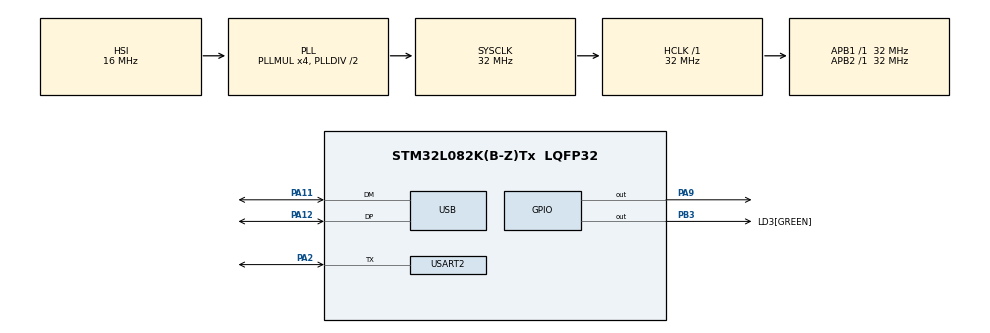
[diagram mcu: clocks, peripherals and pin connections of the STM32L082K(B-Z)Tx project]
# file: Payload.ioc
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Mcu.Family=STM32L0
Mcu.Name=STM32L082K(B-Z)Tx
Mcu.Package=LQFP32
NVIC.USB_IRQn=true\:0\:0\:false\:false\:true
PA11.Mode=Device
PA11.Signal=USB_DM
PA12.Mode=Device
PA12.Signal=USB_DP
PA2.Mode=Half_duplex(single_wire_mode)
PA2.Signal=USART2_TX
PA9.Signal=GPIO_Output
PB3.GPIO_Label=LD3[GREEN]
PB3.Signal=GPIO_Output
PC14-OSC32_IN.Mode=LSE-External-Oscillator
PC14-OSC32_IN.Signal=RCC_OSC32_IN
PC15-OSC32_OUT.Mode=LSE-External-Oscillator
PC15-OSC32_OUT.Signal=RCC_OSC32_OUT
ProjectManager.HeapSize=0x400
ProjectManager.StackSize=0x1000
ProjectManager.TargetToolchain=MDK-ARM V5
RCC.AHBFreq_Value=32000000
RCC.APB1Freq_Value=32000000
RCC.APB1TimFreq_Value=32000000
RCC.APB2Freq_Value=32000000
RCC.APB2TimFreq_Value=32000000
RCC.HCLKFreq_Value=32000000
RCC.HSI16_VALUE=16000000
RCC.HSI48MClockSelection=RCC_USBCLKSOURCE_HSI48
RCC.HSI48_VALUE=48000000
RCC.HSI_VALUE=16000000
RCC.MSI_VALUE=2097000
RCC.PLLMUL=RCC_PLLMUL_4
RCC.RTCClockSelection=RCC_RTCCLKSOURCE_LSE
RCC.SYSCLKFreq_VALUE=32000000
RCC.SYSCLKSource=RCC_SYSCLKSOURCE_PLLCLK
RCC.VCOOutputFreq_Value=64000000
USART2.WordLength=UART_WORDLENGTH_8B
USB_DEVICE.CLASS_NAME_FS=CDC
USB_DEVICE.USBD_HandleTypeDef=hUsbDeviceFS
USB_DEVICE.VirtualMode=Cdc
USB_DEVICE.VirtualModeFS=Cdc_FS
VP_RNG_VS_RNG.Mode=RNG_Activate
VP_RTC_VS_RTC_Alarm_A_Intern.Mode=Alarm A
VP_USB_DEVICE_VS_USB_DEVICE_CDC_FS.Mode=CDC_FS
board=Payload

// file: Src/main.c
/**
  ******************************************************************************
  * File Name          : main.c
  * Description        : Main program body
  ******************************************************************************
  *
  * COPYRIGHT(c) 2016 STMicroelectronics
  *
  * Redistribution and use in source and binary forms, with or without modification,
  * are permitted provided that the following conditions are met:
  *   1. Redistributions of source code must retain the above copyright notice,
  *      this list of conditions and the following disclaimer.
  *   2. Redistributions in binary form must reproduce the above copyright notice,
  *      this list of conditions and the following disclaimer in the documentation
  *      and/or other materials provided with the distribution.
  *   3. Neither the name of STMicroelectronics nor the names of its contributors
  *      may be used to endorse or promote products derived from this software
  *      without specific prior written permission.
  *
  * THIS SOFTWARE IS PROVIDED BY THE COPYRIGHT HOLDERS AND CONTRIBUTORS "AS IS"
  * AND ANY EXPRESS OR IMPLIED WARRANTIES, INCLUDING, BUT NOT LIMITED TO, THE
  * IMPLIED WARRANTIES OF MERCHANTABILITY AND FITNESS FOR A PARTICULAR PURPOSE ARE
  * DISCLAIMED. IN NO EVENT SHALL THE COPYRIGHT HOLDER OR CONTRIBUTORS BE LIABLE
  * FOR ANY DIRECT, INDIRECT, INCIDENTAL, SPECIAL, EXEMPLARY, OR CONSEQUENTIAL
  * DAMAGES (INCLUDING, BUT NOT LIMITED TO, PROCUREMENT OF SUBSTITUTE GOODS OR
  * SERVICES; LOSS OF USE, DATA, OR PROFITS; OR BUSINESS INTERRUPTION) HOWEVER
  * CAUSED AND ON ANY THEORY OF LIABILITY, WHETHER IN CONTRACT, STRICT LIABILITY,
  * OR TORT (INCLUDING NEGLIGENCE OR OTHERWISE) ARISING IN ANY WAY OUT OF THE USE
  * OF THIS SOFTWARE, EVEN IF ADVISED OF THE POSSIBILITY OF SUCH DAMAGE.
  *
  ******************************************************************************
  */
#include "stm32l0xx_hal.h"
#include "usb_device.h"

/* USER CODE BEGIN Includes */
#include <time.h>
#include "usbd_cdc_if.h"
#include "dice.h"

#define DEFAULT_FILE_HANDLE_STDOUT (1)
#define DEFAULT_FILE_HANDLE_STDIN (2)
#define DEFAULT_FILE_HANDLE_STDERR (3)
struct __FILE { int handle; };

/* USER CODE END Includes */

RNG_HandleTypeDef hrng;

RTC_HandleTypeDef hrtc;

UART_HandleTypeDef huart2;

/* USER CODE BEGIN PV */
/* Private variables ---------------------------------------------------------*/
CRYP_HandleTypeDef hcryp = {0};
FIREWALL_InitTypeDef fw_init = {0};
FILE __stdout = {DEFAULT_FILE_HANDLE_STDOUT};
FILE __stdin = {DEFAULT_FILE_HANDLE_STDIN};
FILE __stderr = {DEFAULT_FILE_HANDLE_STDERR};

/* USER CODE END PV */

void SystemClock_Config(void);
void Error_Handler(void);
static void MX_GPIO_Init(void);
static void MX_RNG_Init(void);
static void MX_USART2_UART_Init(void);
static void MX_RTC_Init(void);

/* USER CODE BEGIN PFP */
/* Private function prototypes -----------------------------------------------*/

/* USER CODE END PFP */

/* USER CODE BEGIN 0 */
int fputc(int ch, FILE *f)
{
    if(f->handle == DEFAULT_FILE_HANDLE_STDOUT)
    {
        while(CDC_Transmit_FS((uint8_t*)&ch, sizeof(uint8_t)) == USBD_BUSY);
    }
    else if(f->handle == DEFAULT_FILE_HANDLE_STDERR)
    {
        while(HAL_UART_Transmit(&huart2, (uint8_t*)&ch, sizeof(uint8_t), HAL_MAX_DELAY) == HAL_BUSY);
    }
    return ch;
}

int fgetc(FILE *f)
{
  uint8_t ch;
  if(f->handle == DEFAULT_FILE_HANDLE_STDIN)
  {
      while((CDC_RX_Data == NULL) && (CDC_DTR))
      {
          HAL_Delay(0);
      };
      if(CDC_DTR)
      {
          ch = *CDC_RX_Data;
          CDC_RX_Data = NULL;
          fputc(ch, &__stdout); // Echo
          if(ch == '\r') fputc('\n', &__stdout);
      }
      else
      {
          return -1;
      }
  }
  return ch;
}

HAL_StatusTypeDef GetTimeOfDay(time_t* rawTime)
{
    HAL_StatusTypeDef retVal = HAL_OK;
    RTC_DateTypeDef date = {0};
    RTC_TimeTypeDef time = {0};

    if(((retVal = HAL_RTC_GetDate(&hrtc, &date, RTC_FORMAT_BIN)) == HAL_OK) &&
       ((retVal = HAL_RTC_GetTime(&hrtc, &time, RTC_FORMAT_BIN)) == HAL_OK))
    {
        struct tm timeInfo = {0};
        timeInfo.tm_sec = time.Seconds;
        timeInfo.tm_min = time.Minutes;
        timeInfo.tm_hour = time.Hours;
        timeInfo.tm_mday = date.Date - 1;
        timeInfo.tm_wday = date.WeekDay;
        timeInfo.tm_mon = date.Month - 1; // January = 0
        timeInfo.tm_year = date.Year + 100; // Base year is 1900
        *rawTime = mktime(&timeInfo);
    }
    return retVal;
}

HAL_StatusTypeDef SetTimeOfDay(time_t* rawTime)
{
    HAL_StatusTypeDef retVal = HAL_OK;
    RTC_DateTypeDef date = { 0 };
    RTC_TimeTypeDef time = { 0 };
    struct tm* timeInfo = NULL;

    timeInfo = localtime(rawTime);
    time.Seconds = timeInfo->tm_sec;
    time.Minutes = timeInfo->tm_min;
    time.Hours = timeInfo->tm_hour;
    date.WeekDay = timeInfo->tm_wday;
    date.Date = timeInfo->tm_mday + 1; // mday 0 is the first
    date.Month = timeInfo->tm_mon + 1; // January = 0
    date.Year = timeInfo->tm_year - 100; // Base year is 1900

    if(((retVal = HAL_RTC_SetDate(&hrtc, &date, RTC_FORMAT_BIN)) != HAL_OK) ||
       ((retVal = HAL_RTC_SetTime(&hrtc, &time, RTC_FORMAT_BIN)) != HAL_OK))
    {
        goto Cleanup;
    }

Cleanup:
    return retVal;
}

void Morse(char* dataStr)
{
    const uint16_t morseCode[] = {
        0x0201, // A *-
        0x040E, // B -***
        0x040A, // C -*-*
        0x0306, // D -**
        0x0101, // E *
        0x040B, // F **-*
        0x0304, // G --*
        0x040F, // H ****
        0x0203, // I **
        0x0401, // J *----
        0x0302, // K -*-
        0x040D, // L *-**
        0x0200, // M --
        0x0202, // N -*
        0x0300, // O ---
        0x0409, // P *--*
        0x0404, // Q --*-
        0x0302, // R *-*
        0x0307, // S ***
        0x0100, // T -
        0x0302, // U **-
        0x0407, // V ***-
        0x0301, // W *--
        0x0406, // X -**-
        0x0402, // Y -*--
        0x040C, // Z --**
        0x0500, // 0 -----
        0x0501, // 1 *----
        0x0503, // 2 **---
        0x0507, // 3 ***--
        0x050F, // 4 ****-
        0x051F, // 5 *****
        0x051E, // 6 -****
        0x051C, // 7 --***
        0x0518, // 8 ---**
        0x0510};// 9 ----*

    HAL_GPIO_WritePin(LD3_GPIO_Port, LD3_Pin, GPIO_PIN_RESET);
    for(uint8_t n = 0; n < strlen(dataStr); n++)
    {
        uint32_t cursor = 0;
        char send = dataStr[n];
        if((send >= 'a') && (send <= 'z')) send -= 'a' - 'A';
        if((send >= 'A') && (send <= 'Z'))
        {
            cursor = send - 'A';
        }
        else if((send >= '0') && (send <= '9'))
        {
            cursor = send - '0' + 26;
        }
        else
        {
            return;
        }
        if(n > 0) HAL_Delay(750);
        for(uint32_t m = 0; m < (morseCode[cursor] >> 8); m++)
        {
            if(m > 0) HAL_Delay(250);
            HAL_GPIO_WritePin(LD3_GPIO_Port, LD3_Pin, GPIO_PIN_SET);
            if(((morseCode[cursor] & 0x00FF) >> m) & 0x01)
            {
                HAL_Delay(100);
            }
            else
            {
                HAL_Delay(500);
            }
            HAL_GPIO_WritePin(LD3_GPIO_Port, LD3_Pin, GPIO_PIN_RESET);
        }
    }
}

/* USER CODE END 0 */

int main(void)
{

  /* USER CODE BEGIN 1 */
    HAL_StatusTypeDef retVal = HAL_OK;
    time_t clockLast = 0;
    time_t* persistedTime = (time_t*)0x08080000;
    char userinput[256];
  /* USER CODE END 1 */

  /* MCU Configuration----------------------------------------------------------*/

  /* Reset of all peripherals, Initializes the Flash interface and the Systick. */
  HAL_Init();

  /* Configure the system clock */
  SystemClock_Config();

  /* Initialize all configured peripherals */
  MX_GPIO_Init();
  MX_RNG_Init();
  MX_USART2_UART_Init();
  MX_USB_DEVICE_Init();
  MX_RTC_Init();

  /* USER CODE BEGIN 2 */
  fprintf(&__stderr, "#####################################################################\r\n");
  fprintf(&__stderr, "##  BlinkyBlink running @ 0x%08x\r\n", SCB->VTOR);
  fprintf(&__stderr, "#####################################################################\r\n");
  DiceDumpProtectedData(&__stderr);
  DiceDumpAppInfo(&__stderr);
  DiceVolatileData(&__stderr);
  SetTimeOfDay(persistedTime);

  /* USER CODE END 2 */

  /* Infinite loop */
  while (1)
  {

  /* USER CODE BEGIN 3 */
    struct tm* timeInfo = NULL;
    time_t clockNow = {0};
    do
    {
        HAL_Delay(0);
        retVal = GetTimeOfDay(&clockNow);
    }
    while((retVal != HAL_OK) || (clockNow == clockLast));
    clockLast = clockNow;
    timeInfo = localtime(&clockLast);
    fprintf(&__stderr, "[%02d.%02d.%02d-%02d:%02d:%02d]", 1900 + timeInfo->tm_year, timeInfo->tm_mon, timeInfo->tm_mday, timeInfo->tm_hour, timeInfo->tm_min, timeInfo->tm_sec);
    HAL_GPIO_TogglePin(LD3_GPIO_Port, LD3_Pin);
    fprintf(&__stderr, "GPIO_LD3: %s\r", (HAL_GPIO_ReadPin(LD3_GPIO_Port, LD3_Pin) == GPIO_PIN_SET) ? "ON " : "OFF");

    if(CDC_DTR)
    {
      DiceVolatileData(&__stdout);
      printf("Welcome to BlinkyBlink!\r\n");

      GetTimeOfDay(&clockLast);
      printf("New filetime (current %u) or N: ", clockLast);
      if(scanf("%d", &clockLast) > 0)
      {
          printf("Setting: 0x%08x\r\n", clockLast);
          if(SetTimeOfDay(&clockLast) == HAL_OK)
          {
              do
              {
                if(GetTimeOfDay(&clockNow) != HAL_OK)
                {
                    break;
                }
              }
              while(clockNow < clockLast);
              printf("SystemTime: %s\r", asctime(localtime((time_t*)&clockNow)));
          }

          // Persist that time
          if((HAL_FLASHEx_DATAEEPROM_Unlock() == HAL_OK) &&
             (HAL_FLASHEx_DATAEEPROM_Erase((uint32_t)persistedTime) == HAL_OK) &&
             (HAL_FLASHEx_DATAEEPROM_Program(FLASH_TYPEPROGRAM_WORD, (uint32_t)persistedTime, (uint32_t)clockLast) == HAL_OK) &&
             (HAL_FLASHEx_DATAEEPROM_Lock() == HAL_OK))
          {
              printf("TimeStamp persisted.\r\n");
          }
          clockLast = clockNow;
      }
      else
      {
          printf("\r\nSkipping clock set.\r\n");
      }
      do
      {
          while(GetTimeOfDay(&clockLast) != HAL_OK) HAL_Delay(10);
          printf("Time: %s\r", asctime(localtime((time_t*)&clockLast)));
          printf("Input: ");
          if(scanf("%s", userinput) > 0)
          {
              printf("Morseing '%s' with LD3...\r\n", userinput);
              Morse(userinput);
          }
      }
      while(CDC_DTR);
    }
  }
  /* USER CODE END 3 */

}

/** System Clock Configuration
*/
void SystemClock_Config(void)
{

  RCC_OscInitTypeDef RCC_OscInitStruct;
  RCC_ClkInitTypeDef RCC_ClkInitStruct;
  RCC_PeriphCLKInitTypeDef PeriphClkInit;

  __HAL_RCC_PWR_CLK_ENABLE();

  __HAL_PWR_VOLTAGESCALING_CONFIG(PWR_REGULATOR_VOLTAGE_SCALE1);

  RCC_OscInitStruct.OscillatorType = RCC_OSCILLATORTYPE_HSI|RCC_OSCILLATORTYPE_LSE
                              |RCC_OSCILLATORTYPE_HSI48;
  RCC_OscInitStruct.LSEState = RCC_LSE_ON;
  RCC_OscInitStruct.HSIState = RCC_HSI_ON;
  RCC_OscInitStruct.HSICalibrationValue = 16;
  RCC_OscInitStruct.HSI48State = RCC_HSI48_ON;
  RCC_OscInitStruct.PLL.PLLState = RCC_PLL_ON;
  RCC_OscInitStruct.PLL.PLLSource = RCC_PLLSOURCE_HSI;
  RCC_OscInitStruct.PLL.PLLMUL = RCC_PLLMUL_4;
  RCC_OscInitStruct.PLL.PLLDIV = RCC_PLLDIV_2;
  if (HAL_RCC_OscConfig(&RCC_OscInitStruct) != HAL_OK)
  {
    Error_Handler();
  }

  RCC_ClkInitStruct.ClockType = RCC_CLOCKTYPE_HCLK|RCC_CLOCKTYPE_SYSCLK
                              |RCC_CLOCKTYPE_PCLK1|RCC_CLOCKTYPE_PCLK2;
  RCC_ClkInitStruct.SYSCLKSource = RCC_SYSCLKSOURCE_PLLCLK;
  RCC_ClkInitStruct.AHBCLKDivider = RCC_SYSCLK_DIV1;
  RCC_ClkInitStruct.APB1CLKDivider = RCC_HCLK_DIV1;
  RCC_ClkInitStruct.APB2CLKDivider = RCC_HCLK_DIV1;
  if (HAL_RCC_ClockConfig(&RCC_ClkInitStruct, FLASH_LATENCY_1) != HAL_OK)
  {
    Error_Handler();
  }

  PeriphClkInit.PeriphClockSelection = RCC_PERIPHCLK_USART2|RCC_PERIPHCLK_RTC
                              |RCC_PERIPHCLK_USB;
  PeriphClkInit.Usart2ClockSelection = RCC_USART2CLKSOURCE_PCLK1;
  PeriphClkInit.RTCClockSelection = RCC_RTCCLKSOURCE_LSE;
  PeriphClkInit.UsbClockSelection = RCC_USBCLKSOURCE_HSI48;
  if (HAL_RCCEx_PeriphCLKConfig(&PeriphClkInit) != HAL_OK)
  {
    Error_Handler();
  }

  HAL_SYSTICK_Config(HAL_RCC_GetHCLKFreq()/1000);

  HAL_SYSTICK_CLKSourceConfig(SYSTICK_CLKSOURCE_HCLK);

  /* SysTick_IRQn interrupt configuration */
  HAL_NVIC_SetPriority(SysTick_IRQn, 0, 0);
}

/* RNG init function */
static void MX_RNG_Init(void)
{

  hrng.Instance = RNG;
  if (HAL_RNG_Init(&hrng) != HAL_OK)
  {
    Error_Handler();
  }

}

/* RTC init function */
static void MX_RTC_Init(void)
{

  RTC_TimeTypeDef sTime;
  RTC_DateTypeDef sDate;
  RTC_AlarmTypeDef sAlarm;

    /**Initialize RTC and set the Time and Date
    */
  hrtc.Instance = RTC;
  hrtc.Init.HourFormat = RTC_HOURFORMAT_24;
  hrtc.Init.AsynchPrediv = 127;
  hrtc.Init.SynchPrediv = 255;
  hrtc.Init.OutPut = RTC_OUTPUT_DISABLE;
  hrtc.Init.OutPutRemap = RTC_OUTPUT_REMAP_NONE;
  hrtc.Init.OutPutPolarity = RTC_OUTPUT_POLARITY_HIGH;
  hrtc.Init.OutPutType = RTC_OUTPUT_TYPE_OPENDRAIN;
  if (HAL_RTC_Init(&hrtc) != HAL_OK)
  {
    Error_Handler();
  }

  sTime.Hours = 0x0;
  sTime.Minutes = 0x0;
  sTime.Seconds = 0x0;
  sTime.DayLightSaving = RTC_DAYLIGHTSAVING_NONE;
  sTime.StoreOperation = RTC_STOREOPERATION_RESET;
  if (HAL_RTC_SetTime(&hrtc, &sTime, RTC_FORMAT_BCD) != HAL_OK)
  {
    Error_Handler();
  }

  sDate.WeekDay = RTC_WEEKDAY_MONDAY;
  sDate.Month = RTC_MONTH_JANUARY;
  sDate.Date = 0x1;
  sDate.Year = 0x0;

  if (HAL_RTC_SetDate(&hrtc, &sDate, RTC_FORMAT_BCD) != HAL_OK)
  {
    Error_Handler();
  }

    /**Enable the Alarm A
    */
  sAlarm.AlarmTime.Hours = 0x0;
  sAlarm.AlarmTime.Minutes = 0x0;
  sAlarm.AlarmTime.Seconds = 0x0;
  sAlarm.AlarmTime.SubSeconds = 0x0;
  sAlarm.AlarmTime.DayLightSaving = RTC_DAYLIGHTSAVING_NONE;
  sAlarm.AlarmTime.StoreOperation = RTC_STOREOPERATION_RESET;
  sAlarm.AlarmMask = RTC_ALARMMASK_NONE;
  sAlarm.AlarmSubSecondMask = RTC_ALARMSUBSECONDMASK_ALL;
  sAlarm.AlarmDateWeekDaySel = RTC_ALARMDATEWEEKDAYSEL_DATE;
  sAlarm.AlarmDateWeekDay = 0x1;
  sAlarm.Alarm = RTC_ALARM_A;
  if (HAL_RTC_SetAlarm(&hrtc, &sAlarm, RTC_FORMAT_BCD) != HAL_OK)
  {
    Error_Handler();
  }

}

/* USART2 init function */
static void MX_USART2_UART_Init(void)
{

  huart2.Instance = USART2;
  huart2.Init.BaudRate = 115200;
  huart2.Init.WordLength = UART_WORDLENGTH_8B;
  huart2.Init.StopBits = UART_STOPBITS_1;
  huart2.Init.Parity = UART_PARITY_NONE;
  huart2.Init.Mode = UART_MODE_TX_RX;
  huart2.Init.HwFlowCtl = UART_HWCONTROL_NONE;
  huart2.Init.OverSampling = UART_OVERSAMPLING_16;
  huart2.Init.OneBitSampling = UART_ONE_BIT_SAMPLE_DISABLE;
  huart2.AdvancedInit.AdvFeatureInit = UART_ADVFEATURE_NO_INIT;
  if (HAL_HalfDuplex_Init(&huart2) != HAL_OK)
  {
    Error_Handler();
  }

}

/** Configure pins as
        * Analog
        * Input
        * Output
        * EVENT_OUT
        * EXTI
*/
static void MX_GPIO_Init(void)
{

  GPIO_InitTypeDef GPIO_InitStruct;

  /* GPIO Ports Clock Enable */
  __HAL_RCC_GPIOC_CLK_ENABLE();
  __HAL_RCC_GPIOA_CLK_ENABLE();
  __HAL_RCC_GPIOB_CLK_ENABLE();

  /*Configure GPIO pin Output Level */
  HAL_GPIO_WritePin(GPIOA, GPIO_PIN_9, GPIO_PIN_RESET);

  /*Configure GPIO pin Output Level */
  HAL_GPIO_WritePin(LD3_GPIO_Port, LD3_Pin, GPIO_PIN_RESET);

  /*Configure GPIO pin : PA9 */
  GPIO_InitStruct.Pin = GPIO_PIN_9;
  GPIO_InitStruct.Mode = GPIO_MODE_OUTPUT_PP;
  GPIO_InitStruct.Pull = GPIO_NOPULL;
  GPIO_InitStruct.Speed = GPIO_SPEED_FREQ_LOW;
  HAL_GPIO_Init(GPIOA, &GPIO_InitStruct);

  /*Configure GPIO pin : LD3_Pin */
  GPIO_InitStruct.Pin = LD3_Pin;
  GPIO_InitStruct.Mode = GPIO_MODE_OUTPUT_PP;
  GPIO_InitStruct.Pull = GPIO_NOPULL;
  GPIO_InitStruct.Speed = GPIO_SPEED_FREQ_LOW;
  HAL_GPIO_Init(LD3_GPIO_Port, &GPIO_InitStruct);

}

void Error_Handler(void)
{
  while(1)
  {
  }
}

/************************ (C) COPYRIGHT STMicroelectronics *****END OF FILE****/
